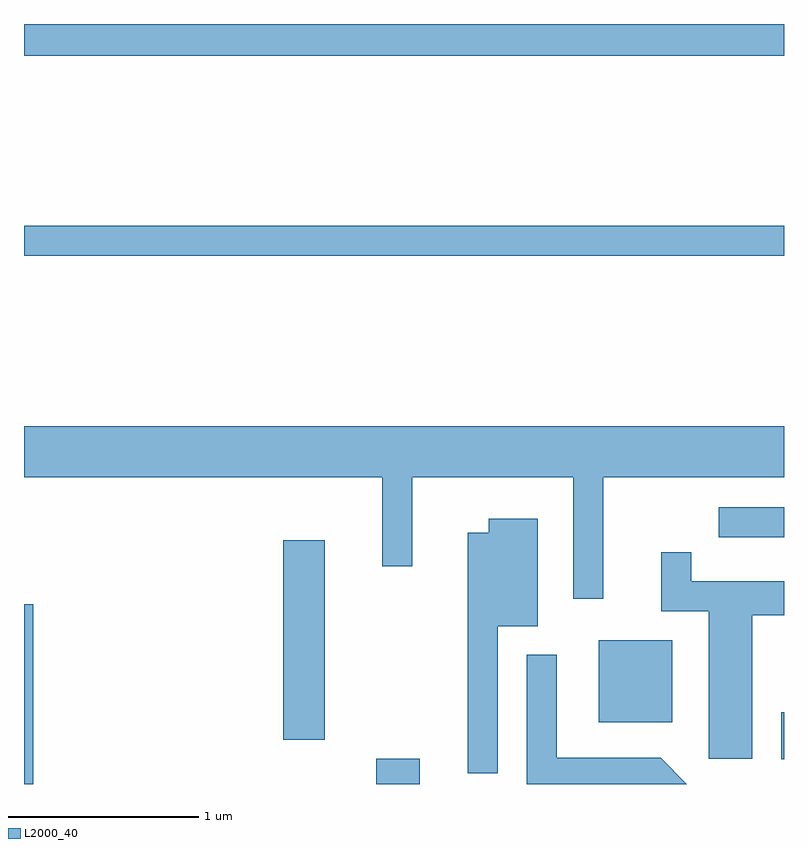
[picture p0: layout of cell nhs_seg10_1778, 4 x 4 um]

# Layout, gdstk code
import gdstk
lib = gdstk.Library(unit=1e-6, precision=1e-09)
def R(c, l, rs):  # rectangles x0, y0, x1, y1
    for r in rs: c.add(gdstk.rectangle(r[:2], r[2:], *l))
def P(c, l, *ps):  # polygons
    for p in ps: c.add(gdstk.Polygon(p, *l))
L2000_40 = (2000, 40)

nhs_seg10_1778 = lib.new_cell('nhs_seg10_1778')
R(nhs_seg10_1778, L2000_40, [(237.611,2114.522,237.659,2115.469), (239.466,2114.522,239.694,2114.654), (241.596,2114.651,241.611,2114.899), (238.976,2114.756,239.194,2115.804), (240.636,2114.846,241.024,2115.279), (241.268,2115.821,241.611,2115.979), (237.611,2117.301,241.611,2117.459), (237.611,2118.356,241.611,2118.522)])
P(nhs_seg10_1778, L2000_40, [(240.659,2116.136),(241.611,2116.136),(241.611,2116.404),(237.611,2116.404),(237.611,2116.136),(239.496,2116.136),(239.496,2115.668),(239.654,2115.668),(239.654,2116.136),(240.501,2116.136),(240.501,2115.498),(240.659,2115.498)],
  [(240.104,2115.351),(240.314,2115.351),(240.314,2115.919),(240.056,2115.919),(240.056,2115.844),(239.946,2115.844),(239.946,2114.578),(240.104,2114.578)],
  [(241.444,2115.411),(241.611,2115.411),(241.611,2115.589),(241.124,2115.589),(241.124,2115.743),(240.966,2115.743),(240.966,2115.431),(241.216,2115.431),(241.216,2114.656),(241.444,2114.656)],
  [(240.962,2114.659),(240.414,2114.659),(240.414,2115.203),(240.256,2115.203),(240.256,2114.522),(241.099,2114.522)])

lib.write_gds('nhs_seg10_1778.gds')
